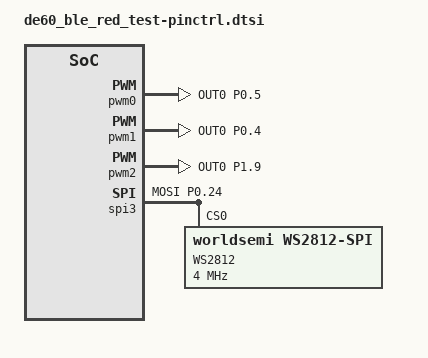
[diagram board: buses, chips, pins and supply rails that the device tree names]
/*
 * Copyright (c) 2022 The ZMK Contributors
 * SPDX-License-Identifier: MIT
 */

&pinctrl {
    spi3_default: spi3_default {
        group1 {
            psels = <NRF_PSEL(SPIM_MOSI, 0, 24)>;
        };
    };
    
    spi3_sleep: spi3_sleep {
        group1 {
            psels = <NRF_PSEL(SPIM_MOSI, 0, 24)>;
            low-power-enable;
        };
    };

    pwm0_default: pwm0_default {
        group1 {
            psels = <NRF_PSEL(PWM_OUT0, 0, 5)>;
        };
    };
	
    pwm0_sleep: pwm0_sleep {
        group1 {
            psels = <NRF_PSEL(PWM_OUT0, 0, 5)>;
            low-power-enable;
        };
    };

	pwm1_default: pwm1_default {
        group1 {
            psels = <NRF_PSEL(PWM_OUT0, 0, 4)>;
        };
    };
	
    pwm1_sleep: pwm1_sleep {
        group1 {
            psels = <NRF_PSEL(PWM_OUT0, 0, 4)>;
            low-power-enable;
        };
    };
	
	pwm2_default: pwm2_default {
        group1 {
            psels = <NRF_PSEL(PWM_OUT0, 1, 9)>;
        };
    };
	
    pwm2_sleep: pwm2_sleep {
        group1 {
            psels = <NRF_PSEL(PWM_OUT0, 1, 9)>;
            low-power-enable;
        };
    };
};

&pwm0 {
    status = "okay";
    pinctrl-0 = <&pwm0_default>;
    pinctrl-1 = <&pwm0_sleep>;
    pinctrl-names = "default", "sleep";
};

&pwm1 {
    status = "okay";
    pinctrl-0 = <&pwm1_default>;
    pinctrl-1 = <&pwm1_sleep>;
    pinctrl-names = "default", "sleep";
};

&pwm2 {
    status = "okay";
    pinctrl-0 = <&pwm2_default>;
    pinctrl-1 = <&pwm2_sleep>;
    pinctrl-names = "default", "sleep";
};

&spi3 {
    compatible = "nordic,nrf-spim";

    pinctrl-0 = <&spi3_default>;
    pinctrl-1 = <&spi3_sleep>;
    pinctrl-names = "default", "sleep";
    status = "okay";

    led_strip: ws2812@0 {
        compatible = "worldsemi,ws2812-spi";
        label = "WS2812";

        /* SPI */
        reg = <0>; /* ignored, but necessary for SPI bindings */
        spi-max-frequency = <4000000>;

        /* WS2812 */
        chain-length = <26>; /* LED strip length */
        spi-one-frame = <0x70>;
        spi-zero-frame = <0x40>;
        color-mapping = <LED_COLOR_ID_GREEN LED_COLOR_ID_RED LED_COLOR_ID_BLUE>;
    };
};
